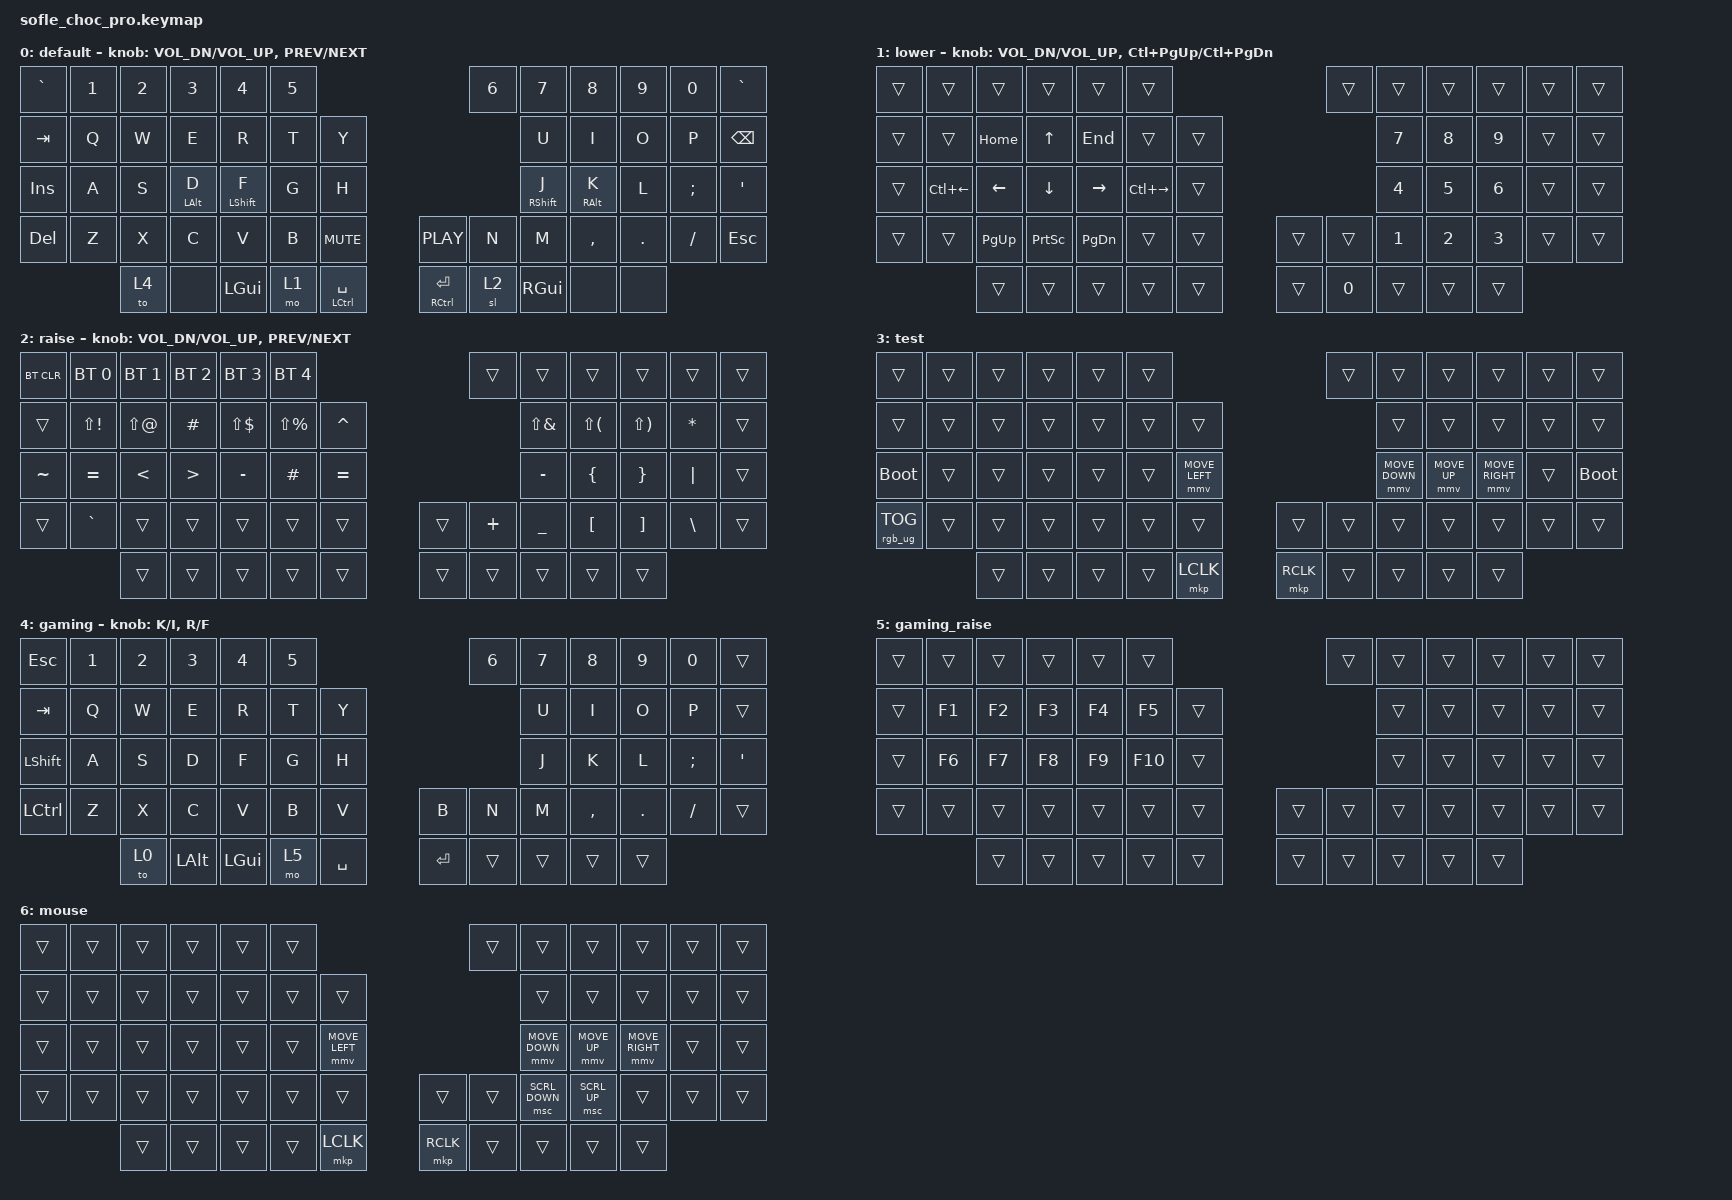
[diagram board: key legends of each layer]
/*
* Copyright (c) 2020 The ZMK Contributors
*
* SPDX-License-Identifier: MIT
*/

#define ZMK_POINTING_DEFAULT_MOVE_VAL 3000

#include <behaviors.dtsi>
#include <dt-bindings/zmk/bt.h>
#include <dt-bindings/zmk/keys.h>
#include <dt-bindings/zmk/pointing.h>
#include <dt-bindings/zmk/rgb.h>

#define BASE 0
#define LOWER 1
#define RAISE 2
#define ADJUST 3
#define MOUSE 6

&mmv {
    // Peak is ZMK_POINTING_DEFAULT_MOVE_VAL px/s; precision on short taps comes from the
    // initial acceleration, which is peak / time-to-max-speed-ms. Raise both together.

    time-to-max-speed-ms = <700>;
    acceleration-exponent = <1>;
    trigger-period-ms = <8>;
};

/ {
    // Activate ADJUST layer by pressing raise and lower

    conditional_layers {
        compatible = "zmk,conditional-layers";

        adjust_layer {
            if-layers = <1 2>;
            then-layer = <3>;
        };
    };

    behaviors {
        lhm: lhm {
            compatible = "zmk,behavior-hold-tap";
            label = "LHM";
            bindings = <&kp>, <&kp>;

            #binding-cells = <2>;
            tapping-term-ms = <280>;
            quick-tap-ms = <180>;
            require-prior-idle-ms = <150>;
            flavor = "balanced";
            hold-trigger-on-release;
            hold-trigger-key-positions = <6 7 8 9 10 11 18 19 20 21 22 23 30 31 32 33 34 35 44 45 46 47 48 49 55 56 57 58 59 43>;
        };

        rhm: rhm {
            compatible = "zmk,behavior-hold-tap";
            label = "RHM";
            bindings = <&kp>, <&kp>;

            #binding-cells = <2>;
            tapping-term-ms = <280>;
            quick-tap-ms = <180>;
            require-prior-idle-ms = <150>;
            flavor = "balanced";
            hold-trigger-on-release;
            hold-trigger-key-positions = <0 1 2 3 4 5 12 13 14 15 16 17 24 25 26 27 28 29 36 37 38 39 40 41 42 50 51 52 53 54>;
        };

        longpress: longpress {
            compatible = "zmk,behavior-hold-tap";
            label = "LONGPRESS";
            bindings = <&kp>, <&kp>;

            #binding-cells = <2>;
            flavor = "tap-preferred";
            tapping-term-ms = <250>;
            require-prior-idle-ms = <150>;
            quick-tap-ms = <175>;
        };
    };

    combos {
        compatible = "zmk,combos";

        mouselayer {
            bindings = <&mo 6>;
            key-positions = <15 14>;
            layers = <0>;
            timeout-ms = <150>;
        };
    };

    keymap {
        compatible = "zmk,keymap";

        default_layer {
            display-name = "default";

            // ------------------------------------------------------------------------------------------------------------
            // |   `   |  1  |  2  |  3   |  4   |  5   |                   |  6   |  7    |  8    |  9   |   0   |   `   |
            // |  ESC  |  Q  |  W  |  E   |  R   |  T   |                   |  Y   |  U    |  I    |  O   |   P   | BKSPC |
            // |  TAB  |  A  |  S  |  D   |  F   |  G   |                   |  H   |  J    |  K    |  L   |   ;   |   '   |
            // | SHIFT |  Z  |  X  |  C   |  V   |  B   |  MUTE  |  | PLAY  |  N   |  M    |  ,    |  .   |   /   | SHIFT |
            //               | GUI | ALT  | CTRL | LOWER|  ENTER |  | SPACE | RAISE| CTRL  | ALT   | GUI  |

            bindings = <
&kp GRAVE   &kp N1  &kp N2  &kp N3           &kp N4        &kp N5                                                  &kp N6  &kp N7        &kp N8            &kp N9   &kp N0    &kp GRAVE
&kp TAB     &kp Q   &kp W   &kp E            &kp R         &kp T   &kp Y                                                   &kp U         &kp I             &kp O    &kp P     &kp BSPC
&kp INSERT  &kp A   &kp S   &lhm LEFT_ALT D  &lhm LSHFT F  &kp G   &kp H                                                   &rhm RSHFT J  &rhm RIGHT_ALT K  &kp L    &kp SEMI  &kp SQT
&kp DELETE  &kp Z   &kp X   &kp C            &kp V         &kp B   &kp C_MUTE              &kp C_PLAY              &kp N   &kp M         &kp COMMA         &kp DOT  &kp FSLH  &kp ESCAPE
                    &to 4   &none            &kp LEFT_GUI  &mo 1   &longpress LCTRL SPACE  &longpress RCTRL ENTER  &sl 2   &kp RGUI      &none             &none
            >;

            sensor-bindings = <&inc_dec_kp C_VOL_DN C_VOL_UP &inc_dec_kp C_PREV C_NEXT>;
        };

        lower_layer {
            display-name = "lower";

            // ------------------------------------------------------------------------------------------------------------
            // |       |  F1 |  F2 |  F3  |  F4  |  F5  |                   |  F6  |  F7   |  F8   |  F9  |  F10  |  F11  |
            // |   `   |  1  |  2  |  3   |  4   |  5   |                   |  6   |  7    |  8    |  9   |   0   |  F12  |
            // |       |  !  |  @  |  #   |  $   |  %   |                   |  ^   |  &    |  *    |  (   |   )   |   |   |
            // |       |  =  |  -  |  +   |  {   |  }   |        |  |       |  [   |  ]    |  ;    |  :   |   \   |       |
            //               |     |      |      |      |        |  |       |      |       |       |      |

            bindings = <
&trans  &trans        &trans          &trans           &trans         &trans                         &trans        &trans        &trans        &trans        &trans  &trans
&trans  &trans        &kp HOME        &kp UP_ARROW     &kp END        &trans         &trans                        &kp N7        &kp N8        &kp N9        &trans  &trans
&trans  &kp LC(LEFT)  &kp LEFT_ARROW  &kp DOWN         &kp RIGHT      &kp LC(RIGHT)  &trans                        &kp NUMBER_4  &kp NUMBER_5  &kp NUMBER_6  &trans  &trans
&trans  &trans        &kp PAGE_UP     &kp PRINTSCREEN  &kp PAGE_DOWN  &trans         &trans  &trans  &trans        &kp NUMBER_1  &kp NUMBER_2  &kp NUMBER_3  &trans  &trans
                      &trans          &trans           &trans         &trans         &trans  &trans  &kp NUMBER_0  &trans        &trans        &trans
            >;

            sensor-bindings =
                <&inc_dec_kp C_VOL_DN C_VOL_UP>,
                <&inc_dec_kp LC(PAGE_UP) LC(PAGE_DOWN)>;
        };

        raise_layer {
            display-name = "raise";

            // ------------------------------------------------------------------------------------------------------------
            // | BTCLR | BT1  | BT2  |  BT3  |  BT4  |  BT5 |                |      |      |       |      |       |       |
            // |       | INS  | PSCR | GUI   |       |      |                | PGUP |      |   ^   |      |       |       |
            // |       | ALT  | CTRL | SHIFT |       | CAPS |                | PGDN |   <- |   v   |  ->  |  DEL  | BKSPC |
            // |       | UNDO | CUT  | COPY  | PASTE |      |      |  |      |      |      |       |      |       |       |
            //                |      |       |       |      |      |  |      |      |      |       |      |

            bindings = <
&bt BT_CLR  &bt BT_SEL 0  &bt BT_SEL 1   &bt BT_SEL 2      &bt BT_SEL 3  &bt BT_SEL 4                      &trans    &trans          &trans            &trans             &trans         &trans
&trans      &kp LS(EXCL)  &kp LS(AT)     &kp HASH          &kp LS(DLLR)  &kp LS(PRCNT)  &kp CARET                    &kp LS(AMPS)    &kp LS(LPAR)      &kp LS(RPAR)       &kp ASTRK      &trans
&kp TILDE   &kp EQUAL     &kp LESS_THAN  &kp GREATER_THAN  &kp MINUS     &kp HASH       &kp EQUAL                    &kp MINUS       &kp LEFT_BRACE    &kp RIGHT_BRACE    &kp PIPE       &trans
&trans      &kp GRAVE     &trans         &trans            &trans        &trans         &trans     &trans  &kp PLUS  &kp UNDERSCORE  &kp LEFT_BRACKET  &kp RIGHT_BRACKET  &kp BACKSLASH  &trans
                          &trans         &trans            &trans        &trans         &trans     &trans  &trans    &trans          &trans            &trans
            >;

            sensor-bindings = <&inc_dec_kp C_VOL_DN C_VOL_UP &inc_dec_kp C_PREV C_NEXT>;
        };

        test {
            bindings = <
&trans           &trans  &trans  &trans  &trans  &trans                             &trans  &trans          &trans        &trans           &trans  &trans
&trans           &trans  &trans  &trans  &trans  &trans  &trans                             &trans          &trans        &trans           &trans  &trans
&bootloader      &trans  &trans  &trans  &trans  &trans  &mmv MOVE_LEFT                     &mmv MOVE_DOWN  &mmv MOVE_UP  &mmv MOVE_RIGHT  &trans  &bootloader
&rgb_ug RGB_TOG  &trans  &trans  &trans  &trans  &trans  &trans          &trans     &trans  &trans          &trans        &trans           &trans  &trans
                         &trans  &trans  &trans  &trans  &mkp LCLK       &mkp RCLK  &trans  &trans          &trans        &trans
            >;

            label = "test";
        };

        gaming {
            bindings = <
&kp ESC    &kp N1  &kp N2  &kp N3        &kp N4    &kp N5                      &kp N6  &kp N7  &kp N8     &kp N9   &kp N0    &trans
&kp TAB    &kp Q   &kp W   &kp E         &kp R     &kp T   &kp Y                       &kp U   &kp I      &kp O    &kp P     &trans
&kp LSHFT  &kp A   &kp S   &kp D         &kp F     &kp G   &kp H                       &kp J   &kp K      &kp L    &kp SEMI  &kp SQT
&kp LCTRL  &kp Z   &kp X   &kp C         &kp V     &kp B   &kp V      &kp B    &kp N   &kp M   &kp COMMA  &kp DOT  &kp FSLH  &trans
                   &to 0   &kp LEFT_ALT  &kp LGUI  &mo 5   &kp SPACE  &kp RET  &trans  &trans  &trans     &trans
            >;

            sensor-bindings = <&inc_dec_kp K I>, <&inc_dec_kp R F>;
        };

        gaming_raise {
            bindings = <
&trans  &trans  &trans  &trans  &trans  &trans                   &trans  &trans  &trans  &trans  &trans  &trans
&trans  &kp F1  &kp F2  &kp F3  &kp F4  &kp F5   &trans                  &trans  &trans  &trans  &trans  &trans
&trans  &kp F6  &kp F7  &kp F8  &kp F9  &kp F10  &trans                  &trans  &trans  &trans  &trans  &trans
&trans  &trans  &trans  &trans  &trans  &trans   &trans  &trans  &trans  &trans  &trans  &trans  &trans  &trans
                &trans  &trans  &trans  &trans   &trans  &trans  &trans  &trans  &trans  &trans
            >;
        };

        mouse {
            display-name = "mouse";
            bindings = <
&trans  &trans  &trans  &trans  &trans  &trans                             &trans  &trans          &trans        &trans           &trans  &trans
&trans  &trans  &trans  &trans  &trans  &trans  &trans                             &trans          &trans        &trans           &trans  &trans
&trans  &trans  &trans  &trans  &trans  &trans  &mmv MOVE_LEFT                     &mmv MOVE_DOWN  &mmv MOVE_UP  &mmv MOVE_RIGHT  &trans  &trans
&trans  &trans  &trans  &trans  &trans  &trans  &trans          &trans     &trans  &msc SCRL_DOWN  &msc SCRL_UP  &trans           &trans  &trans
                &trans  &trans  &trans  &trans  &mkp LCLK       &mkp RCLK  &trans  &trans          &trans        &trans
            >;
        };
    };
};
